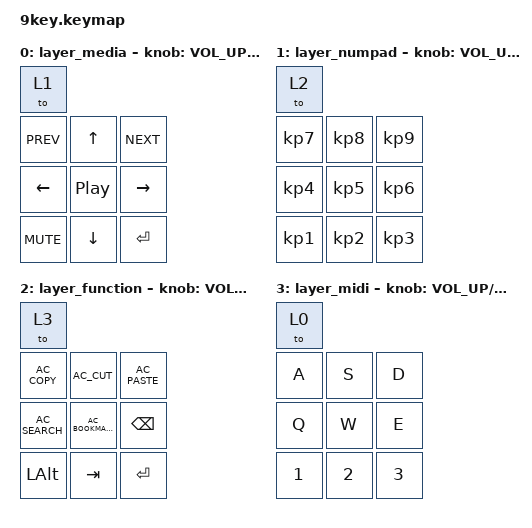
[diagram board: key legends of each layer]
#include <behaviors.dtsi>
#include <dt-bindings/zmk/keys.h>
#include <dt-bindings/zmk/bt.h>
#include <dt-bindings/zmk/rgb.h>

/ {
    // Definisi untuk rotari encoder (Volume & Mute)
    sensors {
        compatible = "zmk,keymap-sensors";
        sensors = <&encoder_left>;
        triggers-per-rotation = <20>;
    };

    keymap {
        compatible = "zmk,keymap";

        // LAYER 0: MEDIA (Default)
        layer_media {
            bindings = <
                &to 1
                &kp C_PREV    &kp UP      &kp C_NEXT
                &kp LEFT      &kp C_PP    &kp RIGHT
                &kp C_MUTE    &kp DOWN    &kp ENTER
            >;
            sensor-bindings = <&inc_dec_kp C_VOL_UP C_VOL_DN>;
        };

        // LAYER 1: NUMPAD
        layer_numpad {
            bindings = <
                &to 2
                &kp KP_N7     &kp KP_N8   &kp KP_N9
                &kp KP_N4     &kp KP_N5   &kp KP_N6
                &kp KP_N1     &kp KP_N2   &kp KP_N3
            >;
            sensor-bindings = <&inc_dec_kp C_VOL_UP C_VOL_DN>;
        };

        // LAYER 2: FUNCTION / EDITING
        layer_function {
            bindings = <
                &to 3
                &kp C_AC_COPY &kp C_AC_CUT &kp C_AC_PASTE
                &kp C_AC_SEARCH &kp C_AC_BOOKMARKS &kp BSPC
                &kp LALT      &kp TAB     &kp ENTER
            >;
            sensor-bindings = <&inc_dec_kp C_VOL_UP C_VOL_DN>;
        };

        // LAYER 3: MIDI / EXTRA (ZMK tidak punya native MIDI keycodes seperti QMK, diisi custom macro/key standar)
        layer_midi {
            bindings = <
                &to 0
                &kp A         &kp S       &kp D
                &kp Q         &kp W       &kp E
                &kp N1        &kp N2      &kp N3
            >;
            sensor-bindings = <&inc_dec_kp C_VOL_UP C_VOL_DN>;
        };
    };
};
